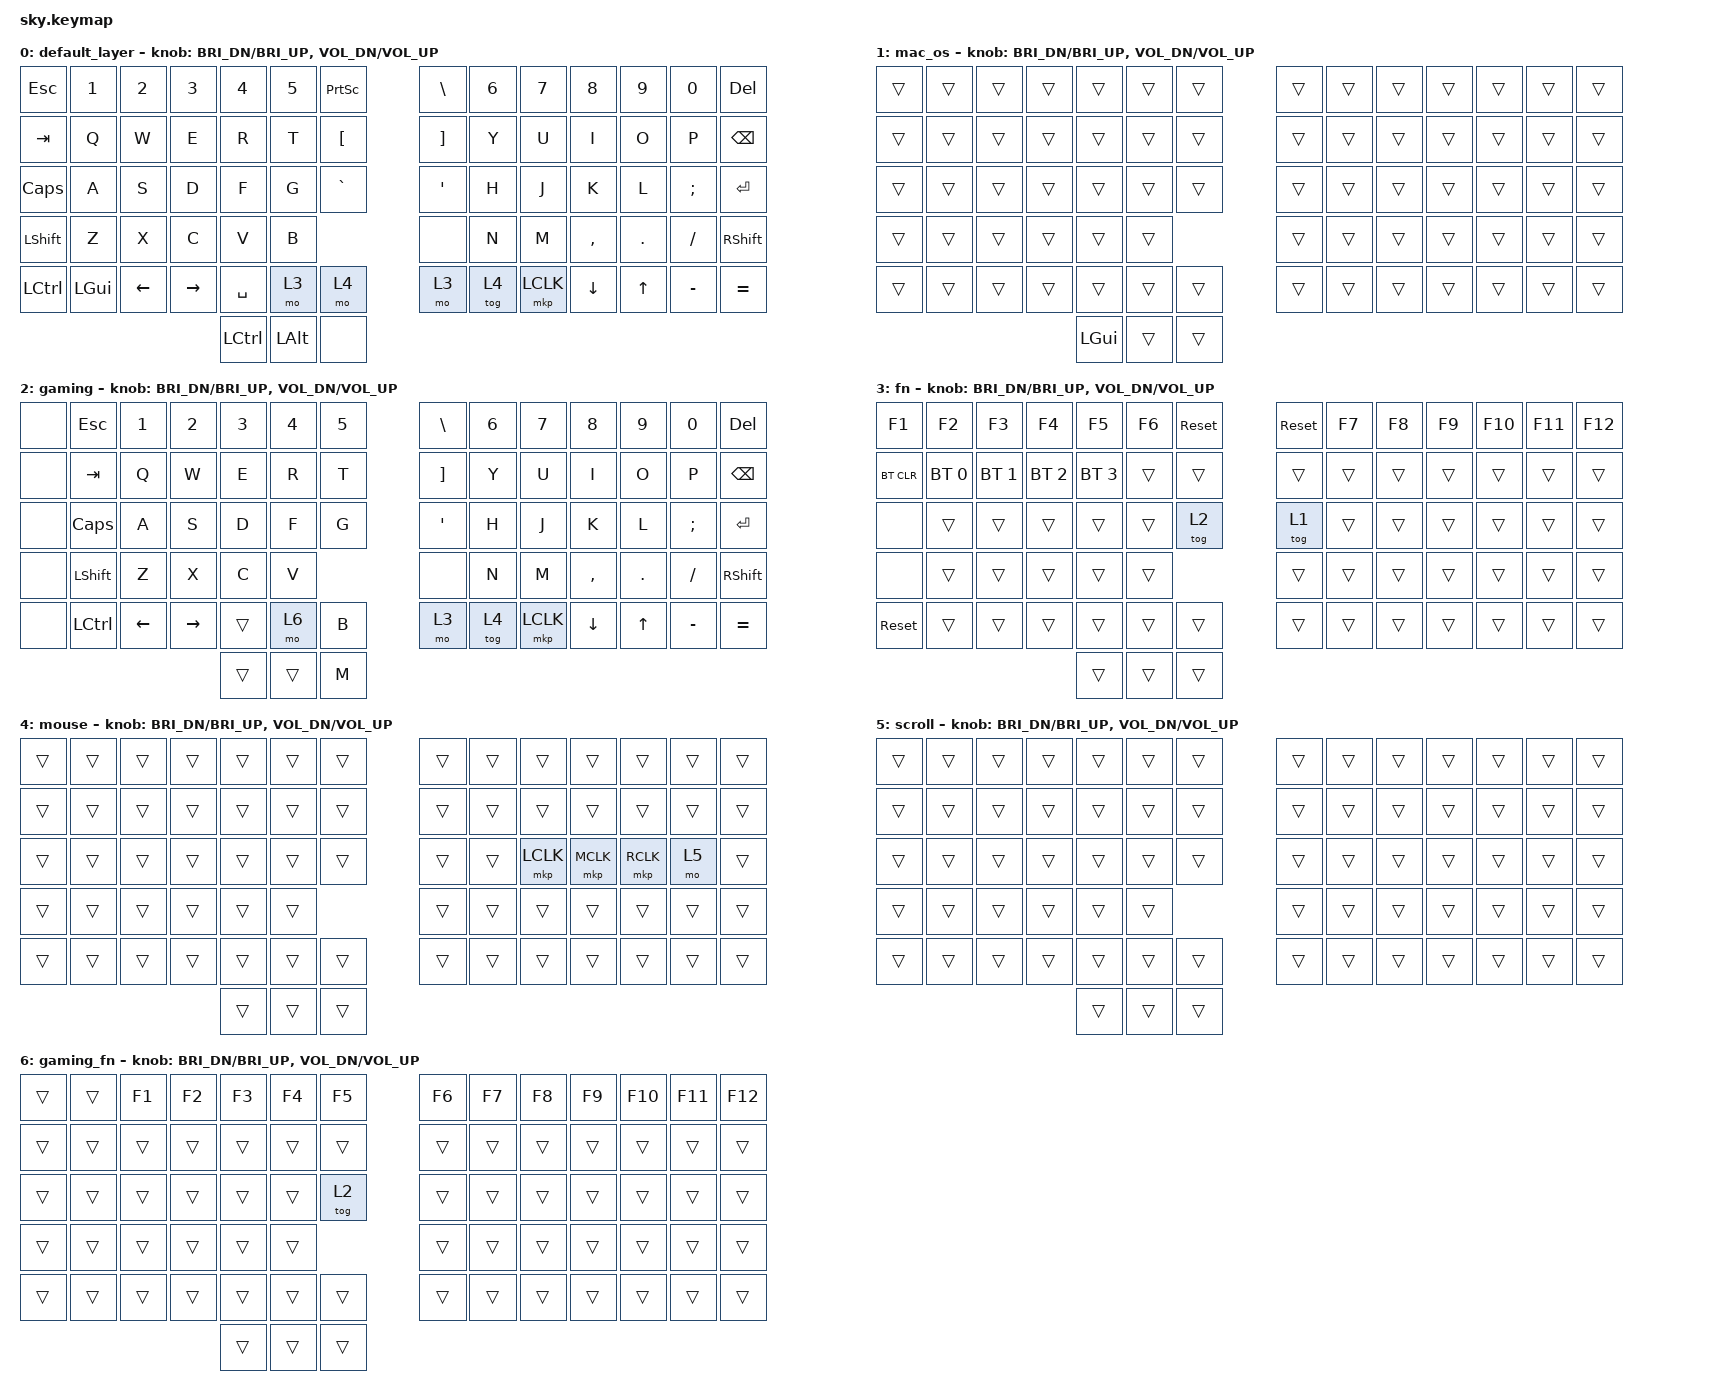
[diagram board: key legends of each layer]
#include <behaviors.dtsi>
#include <behaviors/mouse_keys.dtsi>

#include <dt-bindings/zmk/keys.h>
#include <dt-bindings/zmk/bt.h>
#include <dt-bindings/zmk/outputs.h>
#include <dt-bindings/zmk/mouse.h>

#define DEFAULT 0
#define MAC_OS 1
#define GAMING 2
#define FN 3

#define MOUSE 4
#define SCROLL 5

/ {
    keymap {
        compatible = "zmk,keymap";

        default_layer {
            bindings = <
                &kp ESC     &kp N1      &kp N2      &kp N3      &kp N4      &kp N5      &kp PSCRN               &kp BSLH    &kp N6      &kp N7      &kp N8      &kp N9      &kp N0      &kp DEL
                &kp TAB     &kp Q       &kp W       &kp E       &kp R       &kp T       &kp LBKT                &kp RBKT    &kp Y       &kp U       &kp I       &kp O       &kp P       &kp BSPC
                &kp CAPS    &kp A       &kp S       &kp D       &kp F       &kp G       &kp GRAVE               &kp APOS    &kp H       &kp J       &kp K       &kp L       &kp SEMI    &kp ENTER
                &kp LSHFT   &kp Z       &kp X       &kp C       &kp V       &kp B                               &none       &kp N       &kp M       &kp COMMA   &kp DOT     &kp SLASH   &kp RSHIFT
                &kp LCTRL   &kp LGUI    &kp LEFT    &kp RIGHT   &kp SPACE   &mo 3       &mo 4                   &mo 3       &tog 4      &mkp LCLK   &kp DOWN    &kp UP      &kp MINUS   &kp EQUAL
                                                                &kp LCTRL   &kp LALT    &none
            >;

            sensor-bindings = <
                &inc_dec_kp C_BRI_DN C_BRI_UP
                &inc_dec_kp C_VOL_DN C_VOL_UP
            >;
        };

        mac_os {
            bindings = <
                &trans      &trans      &trans      &trans      &trans      &trans      &trans                  &trans      &trans      &trans      &trans      &trans      &trans      &trans
                &trans      &trans      &trans      &trans      &trans      &trans      &trans                  &trans      &trans      &trans      &trans      &trans      &trans      &trans
                &trans      &trans      &trans      &trans      &trans      &trans      &trans                  &trans      &trans      &trans      &trans      &trans      &trans      &trans
                &trans      &trans      &trans      &trans      &trans      &trans                              &trans      &trans      &trans      &trans      &trans      &trans      &trans
                &trans      &trans      &trans      &trans      &trans      &trans      &trans                  &trans      &trans      &trans      &trans      &trans      &trans      &trans
                                                                &kp LGUI    &trans      &trans
            >;

            sensor-bindings = <
                &inc_dec_kp C_BRI_DN C_BRI_UP
                &inc_dec_kp C_VOL_DN C_VOL_UP
            >;
        };

        gaming {
            bindings = <
                &none       &kp ESC     &kp N1      &kp N2      &kp N3      &kp N4      &kp N5                  &kp BSLH    &kp N6      &kp N7      &kp N8      &kp N9      &kp N0      &kp DEL
                &none       &kp TAB     &kp Q       &kp W       &kp E       &kp R       &kp T                   &kp RBKT    &kp Y       &kp U       &kp I       &kp O       &kp P       &kp BSPC
                &none       &kp CAPS    &kp A       &kp S       &kp D       &kp F       &kp G                   &kp APOS    &kp H       &kp J       &kp K       &kp L       &kp SEMI    &kp ENTER
                &none       &kp LSHFT   &kp Z       &kp X       &kp C       &kp V                               &none       &kp N       &kp M       &kp COMMA   &kp DOT     &kp SLASH   &kp RSHIFT
                &none       &kp LCTRL   &kp LEFT    &kp RIGHT   &trans      &mo 6       &kp B                   &mo 3       &tog 4      &mkp LCLK   &kp DOWN    &kp UP      &kp MINUS   &kp EQUAL
                                                                &trans      &trans      &kp M
            >;

            sensor-bindings = <
                &inc_dec_kp C_BRI_DN C_BRI_UP
                &inc_dec_kp C_VOL_DN C_VOL_UP
            >;
        };

        fn {
            bindings = <
                &kp F1      &kp F2       &kp F3       &kp F4       &kp F5       &kp F6  &sys_reset              &sys_reset  &kp F7      &kp F8      &kp F9       &kp F10      &kp F11      &kp F12
                &bt BT_CLR  &bt BT_SEL 0 &bt BT_SEL 1 &bt BT_SEL 2 &bt BT_SEL 3 &trans  &trans                  &trans      &trans      &trans      &trans       &trans       &trans       &trans
                &none       &trans       &trans       &trans       &trans       &trans  &tog 2                  &tog 1      &trans      &trans      &trans       &trans       &trans       &trans
                &none       &trans       &trans       &trans       &trans       &trans                          &trans      &trans      &trans      &trans       &trans       &trans       &trans
                &sys_reset  &trans       &trans       &trans       &trans       &trans  &trans                  &trans      &trans      &trans      &trans       &trans       &trans       &trans
                                                                   &trans       &trans  &trans
            >;

            sensor-bindings = <
                &inc_dec_kp C_BRI_DN C_BRI_UP
                &inc_dec_kp C_VOL_DN C_VOL_UP
            >;
        };

        mouse {
            bindings = <
                &trans      &trans       &trans       &trans       &trans       &trans       &trans             &trans      &trans       &trans      &trans      &trans       &trans       &trans
                &trans      &trans       &trans       &trans       &trans       &trans       &trans             &trans      &trans       &trans      &trans      &trans       &trans       &trans
                &trans      &trans       &trans       &trans       &trans       &trans       &trans             &trans      &trans       &mkp LCLK   &mkp MCLK   &mkp RCLK    &mo 5        &trans
                &trans      &trans       &trans       &trans       &trans       &trans                          &trans      &trans       &trans      &trans      &trans       &trans       &trans
                &trans      &trans       &trans       &trans       &trans       &trans       &trans             &trans      &trans       &trans      &trans      &trans       &trans       &trans
                                                                   &trans       &trans       &trans
            >;

            sensor-bindings = <
                &inc_dec_kp C_BRI_DN C_BRI_UP
                &inc_dec_kp C_VOL_DN C_VOL_UP
            >;
        };

        scroll {
            bindings = <
                &trans      &trans       &trans       &trans       &trans       &trans       &trans             &trans      &trans       &trans      &trans      &trans       &trans       &trans
                &trans      &trans       &trans       &trans       &trans       &trans       &trans             &trans      &trans       &trans      &trans      &trans       &trans       &trans
                &trans      &trans       &trans       &trans       &trans       &trans       &trans             &trans      &trans       &trans      &trans      &trans       &trans       &trans
                &trans      &trans       &trans       &trans       &trans       &trans                          &trans      &trans       &trans      &trans      &trans       &trans       &trans
                &trans      &trans       &trans       &trans       &trans       &trans       &trans             &trans      &trans       &trans      &trans      &trans       &trans       &trans
                                                                   &trans       &trans       &trans
            >;

            sensor-bindings = <
                &inc_dec_kp C_BRI_DN C_BRI_UP
                &inc_dec_kp C_VOL_DN C_VOL_UP
            >;
        };

        gaming_fn {
            bindings = <
                &trans      &trans       &kp F1       &kp F2       &kp F3       &kp F4       &kp F5                  &kp F6      &kp F7      &kp F8      &kp F9       &kp F10      &kp F11      &kp F12
                &trans      &trans       &trans       &trans       &trans       &trans       &trans                  &trans      &trans      &trans      &trans       &trans       &trans       &trans
                &trans      &trans       &trans       &trans       &trans       &trans       &tog 2                  &trans      &trans      &trans      &trans       &trans       &trans       &trans
                &trans      &trans       &trans       &trans       &trans       &trans                               &trans      &trans      &trans      &trans       &trans       &trans       &trans
                &trans      &trans       &trans       &trans       &trans       &trans       &trans                  &trans      &trans      &trans      &trans       &trans       &trans       &trans
                                                                   &trans       &trans       &trans
            >;

            sensor-bindings = <
                &inc_dec_kp C_BRI_DN C_BRI_UP
                &inc_dec_kp C_VOL_DN C_VOL_UP
            >;
        };
    };
 };
